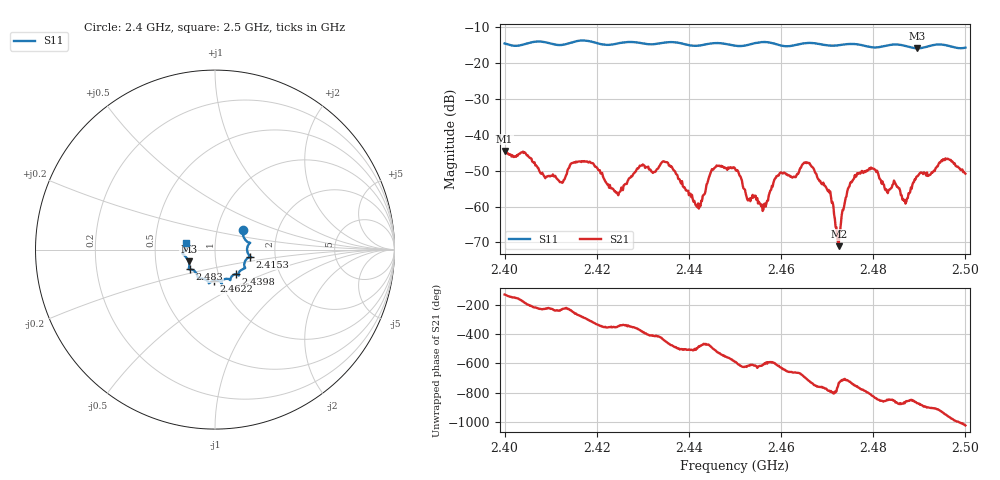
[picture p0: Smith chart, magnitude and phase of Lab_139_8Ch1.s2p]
# Hz S RI R 50
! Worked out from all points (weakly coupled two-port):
!   601 points, 2.4 GHz to 2.5 GHz, reference 50 ohm
!   highest |S21| = -44.51 dB at 2.4 GHz (marker M1); lowest = -71.0 dB at 2.4725 GHz (marker M2)
!   lowest |S11| = -15.9 dB at 2.4895 GHz (marker M3), VSWR 1.38, Z = 36.9 - j5 ohm
!   |S11| at or under -10 dB: start of sweep to end of sweep
!   S12 and S22 are empty: the file has one direction only
!   S11 on the Smith chart (normalised r, x): 2.4 GHz: 1.33, +0.29; 2.4153 GHz: 1.48, -0.12; 2.4398 GHz: 1.21, -0.34; 2.4622 GHz: 0.93, -0.33; 2.483 GHz: 0.74, -0.17; 2.5 GHz: 0.72, +0.06
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2.4e9  0.1548 0.1065  -0.00386 -0.00453  0 0  0 0
2.412167e9  0.1787 -0.00289  -0.00127 0.0018  0 0  0 0
2.415333e9  0.1963 -0.0386  -0.000542 0.00406  0 0  0 0
2.416667e9  0.202 -0.0427  0.000707 0.00412  0 0  0 0
2.4245e9  0.1637 -0.0919  0.0015 0.00026  0 0  0 0
2.433333e9  0.1311 -0.1336  0.00195 -0.00279  0 0  0 0
2.439833e9  0.1153 -0.1365  -0.00141 -0.000885  0 0  0 0
2.442e9  0.0955 -0.1469  -0.000706 -0.000856  0 0  0 0
2.4455e9  0.0846 -0.1698  -0.00286 -0.00191  0 0  0 0
2.45e9  0.0646 -0.1627  -0.00216 0.00265  0 0  0 0
2.456167e9  0.0385 -0.1929  -0.000322 0.00086  0 0  0 0
2.462167e9  -0.00741 -0.1738  0.00129 0.0023  0 0  0 0
2.466667e9  -0.034 -0.1876  0.00347 -0.000937  0 0  0 0
2.470333e9  -0.0509 -0.1684  0.000658 -0.00158  0 0  0 0
2.4725e9  -0.075 -0.161  0.00027 -7.66e-05  0 0  0 0
2.4765e9  -0.0952 -0.156  0.00234 -0.00172  0 0  0 0
2.483e9  -0.1376 -0.1097  -0.00101 -0.00126  0 0  0 0
2.483333e9  -0.1402 -0.1096  -0.00103 -0.00133  0 0  0 0
2.487e9  -0.1436 -0.0973  -0.000877 -0.000666  0 0  0 0
2.4895e9  -0.1466 -0.0659  -0.00235 -0.00122  0 0  0 0
2.495667e9  -0.1774 -0.0167  -0.00306 0.00358  0 0  0 0
2.5e9  -0.1596 0.0393  0.00164 0.00237  0 0  0 0
